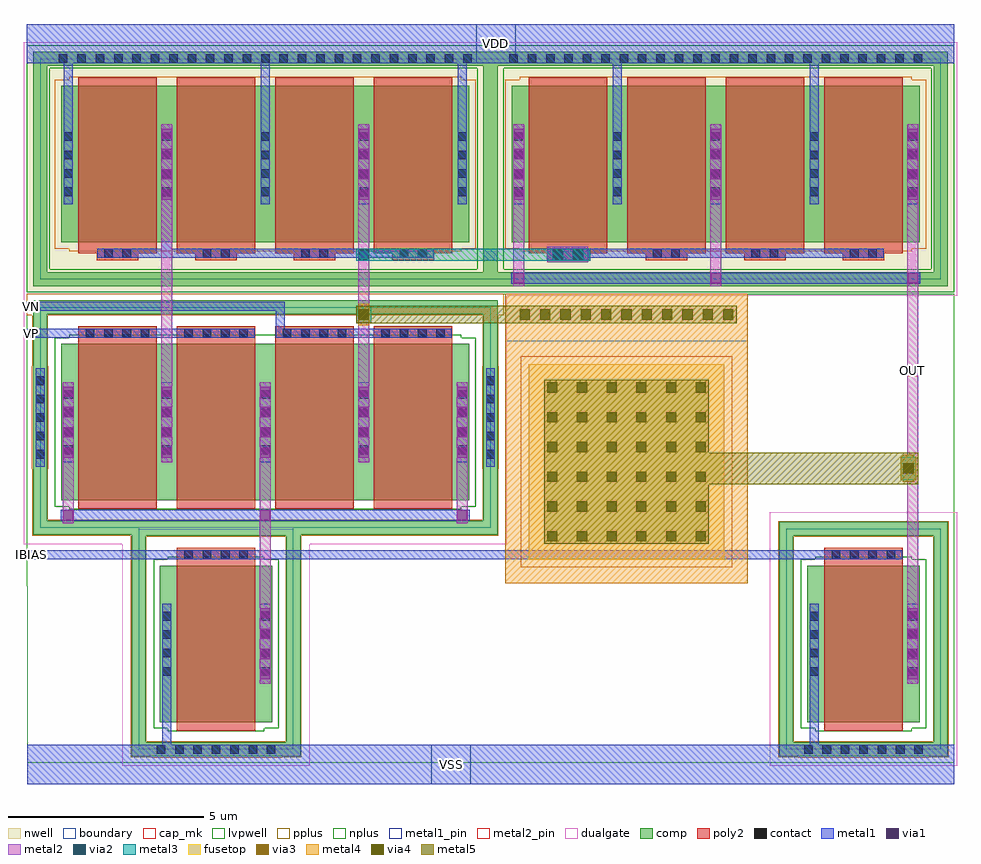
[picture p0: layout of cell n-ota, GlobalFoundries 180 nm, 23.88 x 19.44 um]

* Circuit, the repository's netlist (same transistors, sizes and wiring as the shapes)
* NGSPICE file created from n-ota.ext - technology: gf180mcuD

.subckt pfet_06v0_CA9BXH a_n452_n432# a_n556_n376# w_n1220_n632# a_956_n376# a_52_n432#
+ a_n1044_n376# a_n956_n432# a_556_n432# a_n52_n376# a_452_n376#
X0 a_n556_n376# a_n956_n432# a_n1044_n376# w_n1220_n632# pfet_06v0 ad=1.04p pd=4.52u as=1.76p ps=8.88u w=4u l=2u
X1 a_n52_n376# a_n452_n432# a_n556_n376# w_n1220_n632# pfet_06v0 ad=1.04p pd=4.52u as=1.04p ps=4.52u w=4u l=2u
X2 a_452_n376# a_52_n432# a_n52_n376# w_n1220_n632# pfet_06v0 ad=1.04p pd=4.52u as=1.04p ps=4.52u w=4u l=2u
X3 a_956_n376# a_556_n432# a_452_n376# w_n1220_n632# pfet_06v0 ad=1.76p pd=8.88u as=1.04p ps=4.52u w=4u l=2u
.ends

.subckt cap_mim_2p0fF_BZM3VC m4_n620_n500# m4_n740_n620#
X0 m4_n620_n500# m4_n740_n620# cap_mim_2f0_m4m5_noshield c_width=5u c_length=5u
.ends

.subckt nfet_06v0_9CQTU4 a_52_n468# a_956_n424# a_n1044_n424# a_n956_n468# a_556_n468#
+ a_n52_n424# a_452_n424# a_n452_n468# a_n556_n424# a_n1188_n600#
X0 a_452_n424# a_52_n468# a_n52_n424# a_n1188_n600# nfet_06v0 ad=1.04p pd=4.52u as=1.04p ps=4.52u w=4u l=2u
X1 a_956_n424# a_556_n468# a_452_n424# a_n1188_n600# nfet_06v0 ad=1.76p pd=8.88u as=1.04p ps=4.52u w=4u l=2u
X2 a_n556_n424# a_n956_n468# a_n1044_n424# a_n1188_n600# nfet_06v0 ad=1.04p pd=4.52u as=1.76p ps=8.88u w=4u l=2u
X3 a_n52_n424# a_n452_n468# a_n556_n424# a_n1188_n600# nfet_06v0 ad=1.04p pd=4.52u as=1.04p ps=4.52u w=4u l=2u
.ends

.subckt nfet_06v0_UAC3LK a_200_n424# a_n432_n600# a_n200_n468# a_n288_n424#
X0 a_200_n424# a_n200_n468# a_n288_n424# a_n432_n600# nfet_06v0 ad=1.76p pd=8.88u as=1.76p ps=8.88u w=4u l=2u
.ends

.subckt n-ota OUT VDD VSS IBIAS VN VP
Xpfet_06v0_CA9BXH_0 m1_1639_1477# m1_1639_1477# VDD VDD m1_1639_1477# VDD m1_1639_1477#
+ m1_1639_1477# VDD m1_2976_431# pfet_06v0_CA9BXH
Xpfet_06v0_CA9BXH_1 m1_2976_431# VDD VDD OUT m1_2976_431# OUT m1_2976_431# m1_2976_431#
+ OUT VDD pfet_06v0_CA9BXH
Xcap_mim_2p0fF_BZM3VC_0 OUT m1_2976_431# cap_mim_2p0fF_BZM3VC
XM2 VN m1_1454_132# m1_1454_132# VP VN m1_1454_132# m1_2976_431# VP m1_1639_1477#
+ VSS nfet_06v0_9CQTU4
Xnfet_06v0_UAC3LK_0 OUT VSS IBIAS VSS nfet_06v0_UAC3LK
XM4 m1_1454_132# VSS IBIAS VSS nfet_06v0_UAC3LK
.ends

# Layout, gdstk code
from math import pi, radians
import gdstk
lib = gdstk.Library(unit=1e-6, precision=1e-09)
def R(c, l, rs):  # rectangles x0, y0, x1, y1
    for r in rs: c.add(gdstk.rectangle(r[:2], r[2:], *l))
def A(c, l, x, y, w, h, nx, ny, dx, dy):  # array of equal rectangles
    R(c, l, [(x+i*dx, y+j*dy, x+i*dx+w, y+j*dy+h) for i in range(nx) for j in range(ny)])
boundary = (0, 0)
nwell = (21, 0)
comp = (22, 0)
poly2 = (30, 0)
pplus = (31, 0)
nplus = (32, 0)
contact = (33, 0)
metal1 = (34, 0)
metal1_pin = (34, 10)
via1 = (35, 0)
metal2 = (36, 0)
metal2_pin = (36, 10)
via2 = (38, 0)
via3 = (40, 0)
via4 = (41, 0)
metal3 = (42, 0)
metal4 = (46, 0)
dualgate = (55, 0)
fusetop = (75, 0)
metal5 = (81, 0)
cap_mk = (117, 5)
lvpwell = (204, 0)

pfet_06v0_ca9bxh = lib.new_cell('pfet_06v0_CA9BXH')
R(pfet_06v0_ca9bxh, boundary, [(-5.76,-2.82,5.76,2.82)])
R(pfet_06v0_ca9bxh, nwell, [(-6.1,-3.16,6.1,3.16)])
R(pfet_06v0_ca9bxh, comp, [(-5.94,-3,5.94,-2.64), (-5.94,-2.64,-5.58,2.64), (5.58,-2.64,5.94,2.64), (-5.22,-1.88,5.22,2.12), (-5.94,2.64,5.94,3)])
A(pfet_06v0_ca9bxh, poly2, -4.315, -2.34, 1.07, 0.18, 4, 1, 2.52, 0)
A(pfet_06v0_ca9bxh, poly2, -4.78, -2.16, 2, 4.5, 4, 1, 2.52, 0)
R(pfet_06v0_ca9bxh, pplus, [(-5.01,-2.11,5.01,-2.04), (-5.38,-2.04,5.38,2.28), (-5.01,2.28,5.01,2.35)])
R(pfet_06v0_ca9bxh, nplus, [(-6.1,-3.16,6.1,-2.57), (-6.1,-2.57,-5.51,2.57), (5.51,-2.57,6.1,2.57), (-6.1,2.57,6.1,3.16)])
A(pfet_06v0_ca9bxh, contact, -5.15, -0.695, 0.22, 0.22, 5, 4, 2.52, 0.47)
A(pfet_06v0_ca9bxh, contact, -5.28, 2.71, 0.22, 0.22, 23, 1, 0.47, 0)
R(pfet_06v0_ca9bxh, contact, [(-4.125,-2.27,-3.905,-2.05), (-3.655,-2.27,-3.435,-2.05), (-1.605,-2.27,-1.385,-2.05), (-1.135,-2.27,-0.915,-2.05), (0.915,-2.27,1.135,-2.05), (1.385,-2.27,1.605,-2.05), (3.435,-2.27,3.655,-2.05), (3.905,-2.27,4.125,-2.05)])
A(pfet_06v0_ca9bxh, metal1, -4.305, -2.275, 1.05, 0.23, 4, 1, 2.52, 0)
A(pfet_06v0_ca9bxh, metal1, -5.155, -0.905, 0.23, 2.05, 5, 1, 2.52, 0)
R(pfet_06v0_ca9bxh, metal1, [(-5.415,2.705,5.415,2.935)])
R(pfet_06v0_ca9bxh, dualgate, [(-6.18,-3.24,6.18,3.24)])

nfet_06v0_uac3lk = lib.new_cell('nfet_06v0_UAC3LK')
R(nfet_06v0_uac3lk, boundary, [(-1.98,-2.82,1.98,2.82)])
R(nfet_06v0_uac3lk, comp, [(-2.16,-3,2.16,-2.64), (-2.16,-2.64,-1.8,2.64), (1.8,-2.64,2.16,2.64), (-1.44,-2.12,1.44,1.88), (-2.16,2.64,2.16,3)])
R(nfet_06v0_uac3lk, poly2, [(-1,-2.34,1,2.34)])
R(nfet_06v0_uac3lk, pplus, [(-1.675,-3.03,1.675,-3.02), (-2.18,-3.02,2.18,-2.61), (-2.18,-2.61,-1.78,2.62), (1.78,-2.61,2.18,2.62), (-2.18,2.62,2.18,3.02)])
R(nfet_06v0_uac3lk, nplus, [(-1.23,-2.35,1.23,-2.28), (-1.6,-2.28,1.6,2.04), (-1.23,2.04,1.23,2.11)])
A(nfet_06v0_uac3lk, contact, -1.52, -2.93, 0.22, 0.22, 7, 1, 0.47, 0)
A(nfet_06v0_uac3lk, contact, -1.37, -0.935, 0.22, 0.22, 1, 4, 0, 0.47)
A(nfet_06v0_uac3lk, contact, 1.15, -0.935, 0.22, 0.22, 1, 4, 0, 0.47)
A(nfet_06v0_uac3lk, contact, -0.815, 2.05, 0.22, 0.22, 4, 1, 0.47, 0)
R(nfet_06v0_uac3lk, metal1, [(-1.635,-2.935,1.635,-2.705), (-1.375,-1.145,-1.145,0.905), (1.145,-1.145,1.375,0.905), (-0.99,2.045,0.99,2.275)])
R(nfet_06v0_uac3lk, dualgate, [(-2.4,-3.24,2.4,3.24)])
R(nfet_06v0_uac3lk, lvpwell, [(-2.32,-3.16,2.32,3.16)])

nfet_06v0_9cqtu4 = lib.new_cell('nfet_06v0_9CQTU4')
R(nfet_06v0_9cqtu4, boundary, [(-5.76,-2.82,5.76,2.82)])
R(nfet_06v0_9cqtu4, comp, [(-5.94,-3,5.94,-2.64), (-5.94,-2.64,-5.58,2.64), (5.58,-2.64,5.94,2.64), (-5.22,-2.12,5.22,1.88), (-5.94,2.64,5.94,3)])
A(nfet_06v0_9cqtu4, poly2, -4.78, -2.34, 2, 4.68, 4, 1, 2.52, 0)
R(nfet_06v0_9cqtu4, pplus, [(-5.96,-3.02,5.96,-2.62), (-5.96,-2.62,-5.56,-1.305), (5.56,-2.62,5.96,-1.305), (-5.97,-1.305,-5.55,1.305), (5.55,-1.305,5.97,1.305), (-5.96,1.305,-5.56,2.62), (5.56,1.305,5.96,2.62), (-5.96,2.62,5.96,3.02)])
R(nfet_06v0_9cqtu4, nplus, [(-5.01,-2.35,5.01,-2.28), (-5.38,-2.28,5.38,2.04), (-5.01,2.04,5.01,2.11)])
A(nfet_06v0_9cqtu4, contact, -5.87, -1.05, 0.22, 0.22, 1, 5, 0, 0.47)
A(nfet_06v0_9cqtu4, contact, 5.65, -1.05, 0.22, 0.22, 1, 5, 0, 0.47)
A(nfet_06v0_9cqtu4, contact, -5.15, -0.935, 0.22, 0.22, 5, 4, 2.52, 0.47)
A(nfet_06v0_9cqtu4, contact, -4.595, 2.05, 0.22, 0.22, 4, 1, 0.47, 0)
A(nfet_06v0_9cqtu4, contact, -2.075, 2.05, 0.22, 0.22, 4, 1, 0.47, 0)
A(nfet_06v0_9cqtu4, contact, 0.445, 2.05, 0.22, 0.22, 4, 1, 0.47, 0)
A(nfet_06v0_9cqtu4, contact, 2.965, 2.05, 0.22, 0.22, 4, 1, 0.47, 0)
A(nfet_06v0_9cqtu4, metal1, -5.155, -1.145, 0.23, 2.05, 5, 1, 2.52, 0)
A(nfet_06v0_9cqtu4, metal1, -4.77, 2.045, 1.98, 0.23, 4, 1, 2.52, 0)
R(nfet_06v0_9cqtu4, metal1, [(-5.875,-1.265,-5.645,1.265), (5.645,-1.265,5.875,1.265)])
R(nfet_06v0_9cqtu4, dualgate, [(-6.18,-3.24,6.18,3.24)])
R(nfet_06v0_9cqtu4, lvpwell, [(-6.1,-3.16,6.1,3.16)])

cap_mim_2p0ff_bzm3vc = lib.new_cell('cap_mim_2p0fF_BZM3VC')
R(cap_mim_2p0ff_bzm3vc, boundary, [(-3.7,-3.1,2.5,3.1)])
A(cap_mim_2p0ff_bzm3vc, via4, 3.04, -2.73, 0.26, 0.26, 1, 11, 0, 0.52)
A(cap_mim_2p0ff_bzm3vc, via4, -2.63, -2.03, 0.26, 0.26, 6, 6, 0.76, 0.76)
R(cap_mim_2p0ff_bzm3vc, metal4, [(-3.7,-3.1,3.7,3.1)])
R(cap_mim_2p0ff_bzm3vc, fusetop, [(-3.1,-2.5,1.9,2.5)])
R(cap_mim_2p0ff_bzm3vc, metal5, [(2.95,-2.815,3.39,2.815), (-2.7,-2.1,1.5,2.1)])
R(cap_mim_2p0ff_bzm3vc, cap_mk, [(-3.3,-2.7,2.1,2.7)])

n_ota = lib.new_cell('n-ota')
R(n_ota, nwell, [(7.28,7.78,17.72,11.78), (18.8,7.78,29.24,11.78)])
R(n_ota, pplus, [(6.4,5.91,6.54,6.32), (6.94,5.91,18.06,5.92), (18.46,5.91,18.6,6.32), (6.4,6.32,18.6,6.46)])
A(n_ota, metal1, 7.32, 2.155, 0.28, 2.05, 5, 1, 2.52, 0)
A(n_ota, metal1, 18.84, 8.755, 0.28, 2.05, 3, 1, 5.04, 0)
A(n_ota, metal1, 7.345, 10.805, 0.23, 1.56, 3, 1, 5.04, 0)
R(n_ota, metal1, [(6.405,-6.075,30.12,-5.075), (9.865,-5.075,10.095,-3.46), (26.425,-5.075,26.655,-3.135), (12.36,-3.515,12.64,-1.465), (28.92,-3.515,29.2,-1.465), (6.4,-0.325,28.79,-0.095), (7.27,0.66,17.73,0.94), (6.4,5.345,12.23,5.575), (12.77,5.345,17.27,5.575), (12.77,5.575,13,6.035), (6.4,6.035,13,6.265), (18.79,6.72,29.25,7), (19.715,7.315,20.765,7.385), (8.195,7.385,16.805,7.615), (19.715,7.385,28.325,7.615), (9.84,7.615,10.12,10.805), (14.88,8.755,15.16,10.805), (21.385,10.75,21.615,12.365), (26.425,10.75,26.655,12.365), (6.4,12.365,30.12,13.365)])
R(n_ota, metal1_pin, [(16.75,-6.075,17.75,-5.075), (6.4,-0.325,6.63,-0.095), (6.405,5.345,6.635,5.575), (6.4,6.035,6.63,6.265), (17.9,12.365,18.9,13.365)])
A(n_ota, via1, 12.37, -3.4, 0.26, 0.26, 1, 4, 0, 0.52)
A(n_ota, via1, 28.93, -3.4, 0.26, 0.26, 1, 4, 0, 0.52)
A(n_ota, via1, 7.33, 0.67, 0.26, 0.26, 3, 1, 5.04, 0)
A(n_ota, via1, 7.33, 2.27, 0.26, 0.26, 5, 4, 2.52, 0.52)
A(n_ota, via1, 18.85, 6.73, 0.26, 0.26, 3, 2, 5.04, 2.14)
A(n_ota, via1, 9.85, 8.87, 0.26, 0.26, 1, 4, 0, 0.52)
A(n_ota, via1, 14.89, 8.87, 0.26, 0.26, 1, 4, 0, 0.52)
A(n_ota, via1, 18.85, 9.39, 0.26, 0.26, 3, 3, 5.04, 0.52)
R(n_ota, via1, [(19.85,7.335,20.11,7.595), (20.37,7.335,20.63,7.595)])
R(n_ota, metal2, [(12.36,-3.515,12.64,4.205), (28.92,-3.515,29.2,1.65), (7.32,0.6,7.6,4.205), (17.4,0.6,17.68,4.205), (28.8,1.65,29.2,2.35), (9.84,2.155,10.12,10.805), (14.88,2.155,15.16,10.805), (28.92,2.35,29.2,10.805), (18.84,6.66,19.12,10.805), (23.88,6.66,24.16,10.805), (19.715,7.265,20.765,7.665)])
R(n_ota, metal2_pin, [(28.92,4.36,29.2,4.64)])
R(n_ota, via2, [(28.82,1.87,29.08,2.13), (14.89,5.805,15.15,6.065), (14.89,7.335,15.15,7.595), (19.85,7.335,20.11,7.595), (20.37,7.335,20.63,7.595)])
R(n_ota, via3, [(28.82,1.87,29.08,2.13), (14.89,5.805,15.15,6.065)])
R(n_ota, via4, [(28.82,1.87,29.08,2.13), (14.89,5.805,15.15,6.065)])
R(n_ota, metal3, [(28.75,1.7,29.15,2.3), (14.83,5.715,15.21,6.155), (14.83,7.315,20.815,7.615)])
R(n_ota, metal4, [(28.8,1.65,29.1,1.7), (28.75,1.7,29.15,2.3), (28.8,2.3,29.1,2.35), (14.88,5.665,15.16,6.205)])
R(n_ota, metal5, [(21.8,1.595,29.2,2.395), (14.83,5.715,18.975,6.155)])
R(n_ota, lvpwell, [(6.405,-5.53,30.12,-5.455), (6.405,-5.455,9.81,-5.075), (10.16,-5.455,30.12,-5.075), (6.405,-5.075,30.12,-1.005), (6.4,-1.005,30.115,0.185), (6.4,0.185,30.12,6.465)])
n_ota.add(gdstk.Reference(pfet_06v0_ca9bxh, (24.02,9.66)))
n_ota.add(gdstk.Reference(pfet_06v0_ca9bxh, (12.5,9.66)))
n_ota.add(gdstk.Reference(nfet_06v0_uac3lk, (27.8,-2.37)))
n_ota.add(gdstk.Reference(nfet_06v0_uac3lk, (11.24,-2.37)))
n_ota.add(gdstk.Reference(nfet_06v0_9cqtu4, (12.5,3.3)))
n_ota.add(gdstk.Reference(cap_mim_2p0ff_bzm3vc, (21.74,2.765), rotation=pi/2))
n_ota.add(gdstk.Label('OUT', (29.06,4.5), layer=36, texttype=10))
n_ota.add(gdstk.Label('VDD', (18.4,12.865), layer=34, texttype=10))
n_ota.add(gdstk.Label('VSS', (17.25,-5.575), layer=34, texttype=10))
n_ota.add(gdstk.Label('IBIAS', (6.515,-0.21), layer=34, texttype=10))
n_ota.add(gdstk.Label('VN', (6.515,6.15), layer=34, texttype=10))
n_ota.add(gdstk.Label('VP', (6.52,5.46), layer=34, texttype=10))

lib.write_gds('n-ota.gds')
